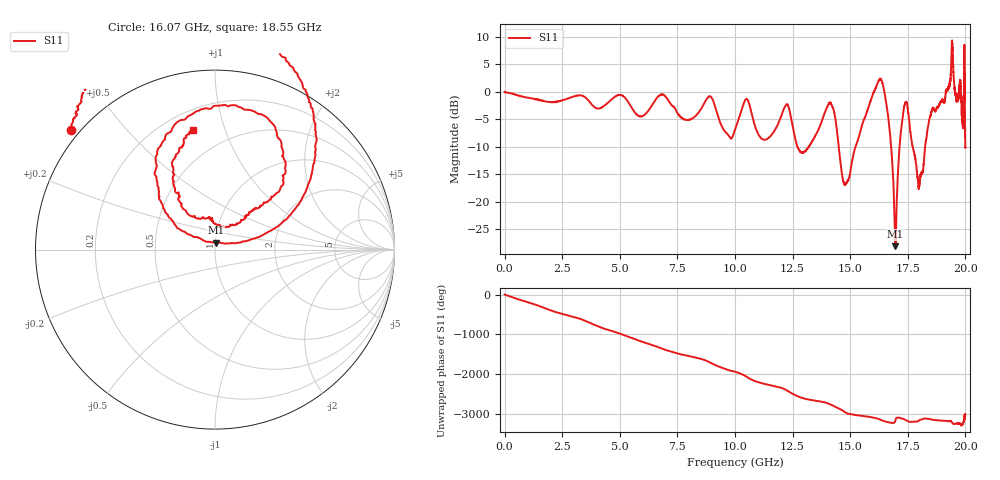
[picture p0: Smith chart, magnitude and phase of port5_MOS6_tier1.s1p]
! Created with skrf 1.8.0 (http://scikit-rf.org).
# GHz S RI R 50.0
!freq ReS11 ImS11
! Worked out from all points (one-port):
!   10000 points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, 3 MHz to 20 GHz, reference 50 ohm
!   lowest |S11| = -28.0 dB at 16.96 GHz (marker M1), VSWR 1.08, Z = 50.4 + j3.96 ohm
!   |S11| at or under -10 dB: 12.71 GHz to 13.21 GHz (494.8 MHz wide, 3.82 % of centre); 14.5 GHz to 15.23 GHz (726.4 MHz wide, 4.89 % of centre); 17.71 GHz to 18.25 GHz (536.7 MHz wide, 2.98 % of centre) (the widest 3 of 5)
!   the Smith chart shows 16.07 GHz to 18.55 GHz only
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0.0029999  0.9988 -0.0137
0.8489576  -0.866 -0.233
1.376931  -0.1188 0.8527
1.80091  0.811 0.0726
2.502875  -0.5156 -0.6575
3.304835  -0.2198 0.901
3.704815  0.7919 0.1288
4.172791  -0.2056 -0.6828
5.00275  -0.128 0.9292
5.80471  0.1796 -0.5755
6.40468  -0.7492 0.108
6.80266  0.00639 0.9445
7.502625  0.4876 -0.4172
8.566572  -0.7193 0.0459
8.924554  -0.0476 0.9055
10.0025  -0.3357 -0.3048
10.50647  -0.0654 0.8608
11.16044  0.1443 -0.3445
12.0764  -0.631 0.192
12.50237  0.436 0.2175
15.00225  -0.0949 -0.1584
16.31618  -0.1479 1.3
16.96415  0.00596 0.0392
17.50212  0.3702 0.5785
18.45808  -0.1994 0.5492
19.32603  0.6068 1.077
19.48203  1.451 -0.1814
20  -0.1906 -0.2445
